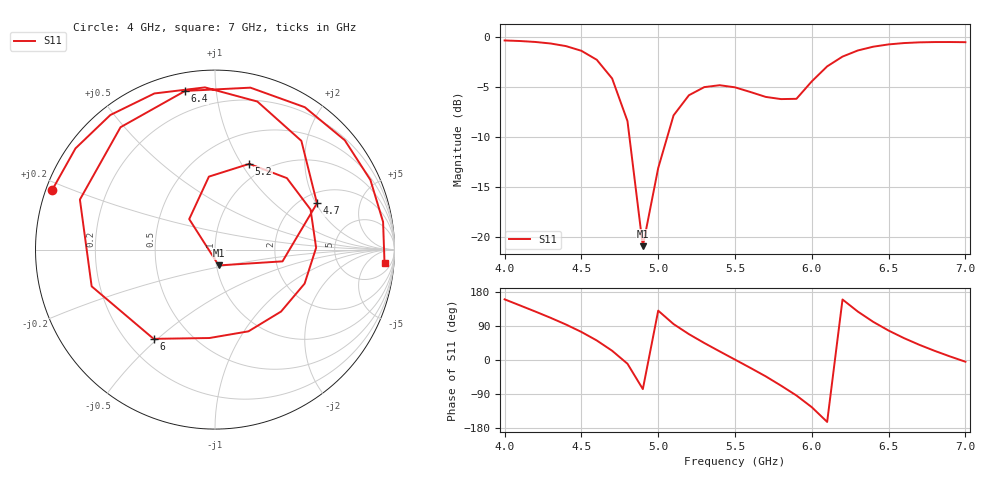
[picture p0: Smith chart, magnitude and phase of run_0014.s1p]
! Touchstone file exported from HFSS 2024.2.0
!  File:  C:/Users/wsak9/Desktop/Sim Fast/Widenad Patch/WP_AI_V1_sweep.aedt
!  Generated:  03:20:13 PM Oct 13, 2026
!  Design:  A1_model
!  Project:  WP_AI_V1_sweep
!  Setup:  Setup1
!  Solution:  Sweep
! Variables:
!  Air_gap = 1.96mm
!  Curve_Amp1 = 2.23
!  Curve_len1 = 1
!  Curve_pos = 11.29mm
!  Extra = 4.8mm
!  H_sub = 0.79mm
!  L_Patch = 18.58mm
!  L_Patch1 = 17.5mm
!  Sx = 4.29mm
!  Sy = 4.91mm
!  WS = 0.96mm
!  W_Patch = 12.96mm
!  W_Patch1 = 12.7mm
!Data is not renormalized
# GHz S MA
! Terminal data exported
! Port[1] = 1
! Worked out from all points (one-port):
!   31 points, 4 GHz to 7 GHz, reference per port
!   lowest |S11| = -20.9 dB at 4.9 GHz (marker M1), VSWR 1.20
!   |S11| at or under -10 dB: 4.813 GHz to 5.058 GHz (244.9 MHz wide, 4.96 % of centre)
!   S11 on the Smith chart (normalised r, x): 4 GHz: 0.02, +0.18; 4.7 GHz: 2.41, +2.04; 5.2 GHz: 0.83, +1.08; 6 GHz: 0.31, -0.49; 6.4 GHz: 0.09, +0.83; 7 GHz: 12, -17
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4  0.9665 160.1
4.2  0.95 127.9
4.3  0.9332 111.2
4.4  0.9055 93.5
4.5  0.858 74.0
4.6  0.7737 51.5
4.7  0.624 24.4
4.8  0.3818 -9.9
4.9  0.0905 -76.8
5  0.2224 130.2
5.1  0.408 94.8
5.2  0.5144 68.2
5.3  0.5648 44.8
5.4  0.5773 22.8
5.5  0.5635 1.0
5.7  0.5046 -43.1
5.8  0.492 -67.7
5.9  0.4936 -93.6
6  0.6036 -124.5
6.1  0.7171 -163.4
6.2  0.8026 159.7
6.3  0.8614 127.7
6.4  0.8996 100.6
6.5  0.9236 77.7
6.6  0.9379 57.8
6.7  0.9456 40.1
6.8  0.9488 24.1
7  0.9475 -4.5
